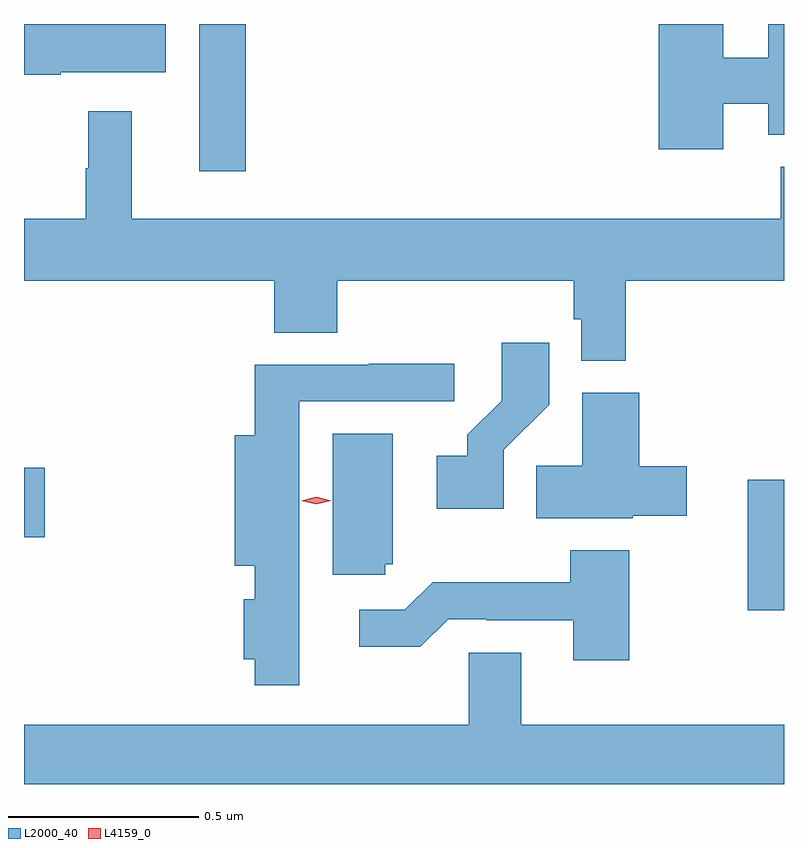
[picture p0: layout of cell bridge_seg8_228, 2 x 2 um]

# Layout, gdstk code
import gdstk
lib = gdstk.Library(unit=1e-6, precision=1e-09)
def R(c, l, rs):  # rectangles x0, y0, x1, y1
    for r in rs: c.add(gdstk.rectangle(r[:2], r[2:], *l))
def P(c, l, *ps):  # polygons
    for p in ps: c.add(gdstk.Polygon(p, *l))
L2000_40 = (2000, 40)
L4159_0 = (4159, 0)

bridge_seg8_228 = lib.new_cell('bridge_seg8_228')
R(bridge_seg8_228, L2000_40, [(124.94,1084.997,125.036,1085.341), (123.036,1085.189,123.091,1085.372), (123.497,1086.153,123.619,1086.54)])
P(bridge_seg8_228, L2000_40, [(124.876,1086.33),(124.995,1086.33),(124.995,1086.249),(125.036,1086.249),(125.036,1086.54),(124.995,1086.54),(124.995,1086.451),(124.876,1086.451),(124.876,1086.54),(124.706,1086.54),(124.706,1086.21),(124.876,1086.21)],
  [(123.133,1086.413),(123.409,1086.413),(123.409,1086.54),(123.036,1086.54),(123.036,1086.406),(123.133,1086.406)],
  [(124.619,1085.864),(125.036,1085.864),(125.036,1086.164),(125.027,1086.164),(125.027,1086.028),(123.319,1086.028),(123.319,1086.31),(123.205,1086.31),(123.205,1086.161),(123.198,1086.161),(123.198,1086.028),(123.036,1086.028),(123.036,1085.864),(123.695,1085.864),(123.695,1085.728),(123.86,1085.728),(123.86,1085.864),(124.483,1085.864),(124.483,1085.763),(124.503,1085.763),(124.503,1085.654),(124.619,1085.654)],
  [(124.299,1085.419),(124.418,1085.538),(124.418,1085.701),(124.293,1085.701),(124.293,1085.549),(124.202,1085.459),(124.202,1085.404),(124.122,1085.404),(124.122,1085.264),(124.299,1085.264)],
  [(123.76,1085.547),(124.168,1085.547),(124.168,1085.646),(123.943,1085.646),(123.943,1085.643),(123.643,1085.643),(123.643,1085.458),(123.59,1085.458),(123.59,1085.114),(123.643,1085.114),(123.643,1085.026),(123.614,1085.026),(123.614,1084.868),(123.643,1084.868),(123.643,1084.8),(123.76,1084.8)],
  [(124.638,1085.246),(124.78,1085.246),(124.78,1085.376),(124.655,1085.376),(124.655,1085.569),(124.505,1085.569),(124.505,1085.378),(124.384,1085.378),(124.384,1085.24),(124.638,1085.24)],
  [(123.987,1085.118),(124.006,1085.118),(124.006,1085.462),(123.848,1085.462),(123.848,1085.091),(123.987,1085.091)],
  [(124.629,1085.155),(124.474,1085.155),(124.474,1085.071),(124.111,1085.071),(124.038,1084.998),(123.918,1084.998),(123.918,1084.901),(124.079,1084.901),(124.152,1084.974),(124.252,1084.974),(124.252,1084.971),(124.481,1084.971),(124.481,1084.866),(124.629,1084.866)],
  [(125.036,1084.696),(124.345,1084.696),(124.345,1084.886),(124.206,1084.886),(124.206,1084.696),(123.036,1084.696),(123.036,1084.54),(125.036,1084.54)])
P(bridge_seg8_228, L4159_0, [(123.805,1085.276),(123.765,1085.285),(123.765,1085.286),(123.765,1085.286),(123.805,1085.296),(123.844,1085.286),(123.845,1085.286),(123.844,1085.285)])

lib.write_gds('bridge_seg8_228.gds')
